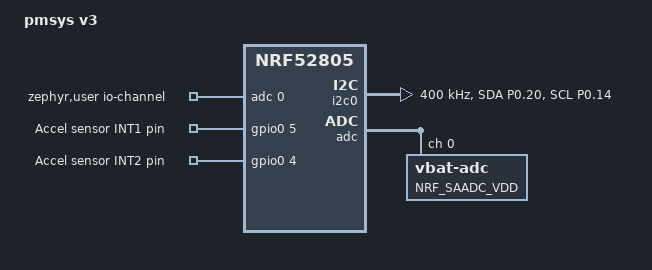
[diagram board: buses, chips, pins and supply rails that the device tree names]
// Copyright (c) 2024 Nordic Semiconductor ASA
// SPDX-License-Identifier: Apache-2.0

/dts-v1/;
#include <nordic/nrf52805_caaa.dtsi>

/ {
	zephyr,user {
		io-channels = <&adc 0>;
	};
};

/ {
	model = "pmsys v3";
	compatible = "pm-sys,pmsys-v3";
 
	chosen {
		zephyr,sram = &sram0;
		zephyr,flash = &flash0;
		zephyr,code-partition = &slot0_partition;
	};

	gpios {
		compatible = "gpio-keys";
		accelint1: accel_int1 {
			gpios = <&gpio0 5 (GPIO_PULL_DOWN | GPIO_ACTIVE_HIGH)>;
			label = "Accel sensor INT1 pin";
		};
		accelint2: accel_int2 {
			gpios = <&gpio0 4 (GPIO_PULL_DOWN | GPIO_ACTIVE_HIGH)>;
			label = "Accel sensor INT2 pin";
		};
	};

	aliases {
		accelint = &accelint1;
	};
};

&flash0 {
	partitions {
		compatible = "fixed-partitions";
		#address-cells = <1>;
		#size-cells = <1>;

		boot_partition: partition@0 {
			label = "mcuboot";
			reg = <0x0 0xc000>;
		};
		slot0_partition: partition@c000 {
			label = "image-0";
			reg = <0xc000 0xa000>;
		};
		slot1_partition: partition@16000 {
			label = "image-1";
			reg = <0x16000 0xa000>;
		};
		scratch_partition: partition@20000 {
			label = "image-scratch";
			reg = <0x20000 0xa000>;
		};
		storage_partition: partition@2a000 {
			label = "storage";
			reg = <0x2a000 0x6000>;
		};
	};
};

&gpio0 {
	status = "okay";
};

&pinctrl {

    i2c_alt_default: i2c_alt_default {
        group1 {
            psels = <NRF_PSEL(TWIM_SDA, 0, 20)>,
                	<NRF_PSEL(TWIM_SCL, 0, 14)>;
        };
    };

    i2c_alt_sleep: i2c_alt_sleep {
        group1 {
            psels = <NRF_PSEL(TWIM_SDA, 0, 20)>,
                	<NRF_PSEL(TWIM_SCL, 0, 14)>;
			low-power-enable;
        };
    };

};

i2c0_inst: &i2c0 {
    compatible = "nordic,nrf-twim";
    status = "okay";
    pinctrl-0 = <&i2c_alt_default>;
	pinctrl-1 = <&i2c_alt_sleep>;
	pinctrl-names = "default", "sleep";
    clock-frequency = < I2C_BITRATE_FAST >;
};

&adc {
	#address-cells = <1>;
	#size-cells = <0>;
	status = "okay";

	vbat-adc@0 {
		reg = <0>;
		zephyr,gain = "ADC_GAIN_1_6";
		zephyr,reference = "ADC_REF_INTERNAL";
		zephyr,acquisition-time = <ADC_ACQ_TIME(ADC_ACQ_TIME_MICROSECONDS, 10)>;
		zephyr,input-positive = <NRF_SAADC_VDD>;
		zephyr,oversampling = <4>;
		zephyr,resolution = <12>;
	};
};


